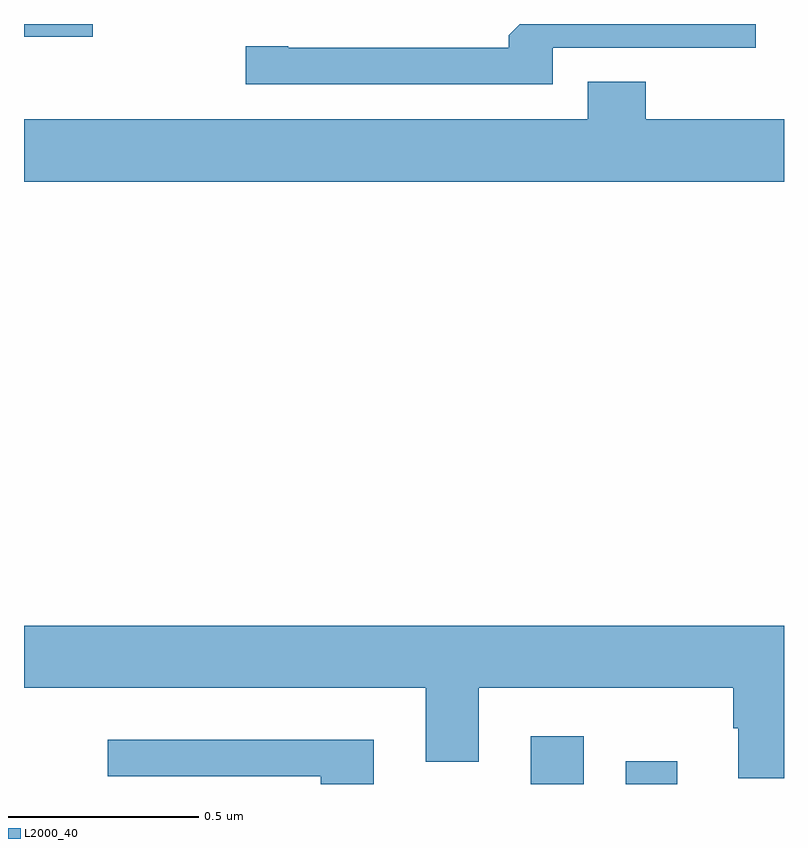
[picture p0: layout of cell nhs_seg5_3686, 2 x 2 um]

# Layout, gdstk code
import gdstk
lib = gdstk.Library(unit=1e-6, precision=1e-09)
def R(c, l, rs):  # rectangles x0, y0, x1, y1
    for r in rs: c.add(gdstk.rectangle(r[:2], r[2:], *l))
def P(c, l, *ps):  # polygons
    for p in ps: c.add(gdstk.Polygon(p, *l))
L2000_40 = (2000, 40)

nhs_seg5_3686 = lib.new_cell('nhs_seg5_3686')
R(nhs_seg5_3686, L2000_40, [(161.333,897.799,161.473,897.925), (161.583,897.799,161.719,897.859), (160,899.765,160.181,899.799)])
P(nhs_seg5_3686, L2000_40, [(161.391,899.736),(161.926,899.736),(161.926,899.799),(161.305,899.799),(161.276,899.77),(161.276,899.736),(160.696,899.736),(160.696,899.741),(160.584,899.741),(160.584,899.64),(161.391,899.64)],
  [(162,899.548),(161.636,899.548),(161.636,899.647),(161.483,899.647),(161.483,899.548),(160,899.548),(160,899.384),(162,899.384)],
  [(162,898.216),(160,898.216),(160,898.052),(161.057,898.052),(161.057,897.858),(161.197,897.858),(161.197,898.052),(161.867,898.052),(161.867,897.946),(161.879,897.946),(161.879,897.814),(162,897.814)],
  [(160.921,897.916),(160.221,897.916),(160.221,897.819),(160.781,897.819),(160.781,897.799),(160.921,897.799)])

lib.write_gds('nhs_seg5_3686.gds')
